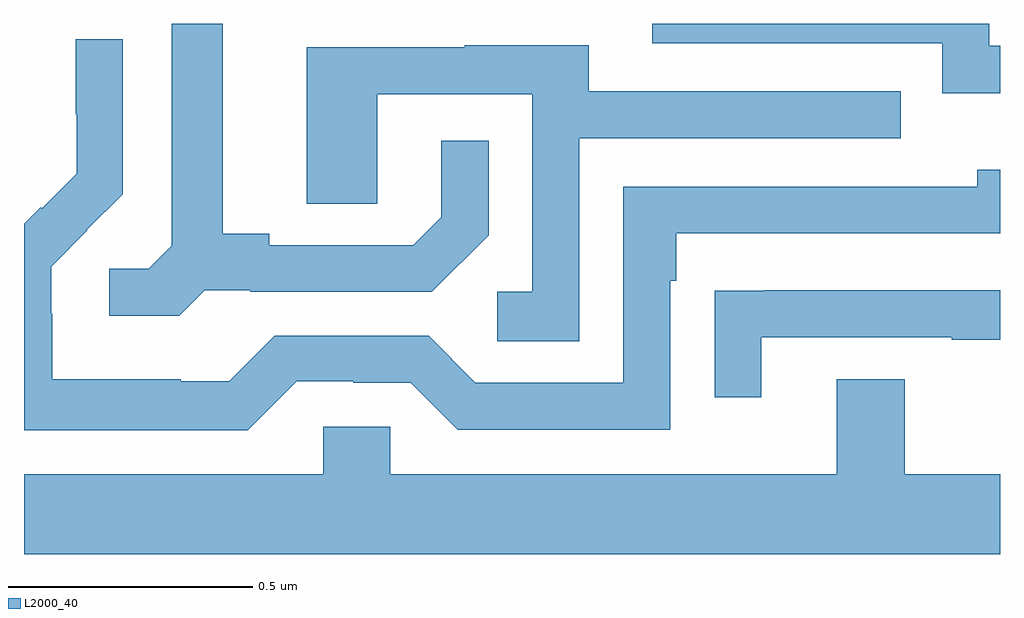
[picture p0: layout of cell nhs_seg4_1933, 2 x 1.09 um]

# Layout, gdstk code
import gdstk
lib = gdstk.Library(unit=1e-6, precision=1e-09)
def P(c, l, *ps):  # polygons
    for p in ps: c.add(gdstk.Polygon(p, *l))
L2000_40 = (2000, 40)

nhs_seg4_1933 = lib.new_cell('nhs_seg4_1933')
P(nhs_seg4_1933, L2000_40, [(136,805.854),(135.978,805.854),(135.978,805.9),(135.287,805.9),(135.287,805.86),(135.882,805.86),(135.882,805.757),(136,805.757)],
  [(134.37,805.353),(134.464,805.353),(134.464,805.35),(134.836,805.35),(134.952,805.466),(134.952,805.66),(134.855,805.66),(134.855,805.503),(134.798,805.446),(134.503,805.446),(134.503,805.469),(134.407,805.469),(134.407,805.9),(134.303,805.9),(134.303,805.445),(134.256,805.398),(134.175,805.398),(134.175,805.301),(134.318,805.301)],
  [(134.559,805.167),(134.675,805.167),(134.675,805.164),(134.793,805.164),(134.889,805.068),(135.324,805.068),(135.324,805.373),(135.337,805.373),(135.337,805.47),(136,805.47),(136,805.6),(135.953,805.6),(135.953,805.566),(135.228,805.566),(135.228,805.164),(134.925,805.164),(134.829,805.26),(134.514,805.26),(134.421,805.167),(134.321,805.167),(134.321,805.171),(134.058,805.171),(134.058,805.305),(134.056,805.305),(134.056,805.402),(134.13,805.476),(134.129,805.477),(134.202,805.55),(134.202,805.868),(134.106,805.868),(134.106,805.714),(134.108,805.714),(134.108,805.592),(134.037,805.521),(134.034,805.524),(134,805.49),(134,805.067),(134.459,805.067)],
  [(135.138,805.665),(135.797,805.665),(135.797,805.761),(135.157,805.761),(135.157,805.855),(134.903,805.855),(134.903,805.851),(134.579,805.851),(134.579,805.531),(134.724,805.531),(134.724,805.755),(135.042,805.755),(135.042,805.35),(134.97,805.35),(134.97,805.249),(135.138,805.249)],
  [(135.511,805.257),(135.901,805.257),(135.901,805.252),(136,805.252),(136,805.353),(135.517,805.353),(135.517,805.352),(135.415,805.352),(135.415,805.134),(135.511,805.134)],
  [(135.665,805.171),(135.665,804.976),(134.751,804.976),(134.751,805.074),(134.613,805.074),(134.613,804.976),(134,804.976),(134,804.812),(136,804.812),(136,804.976),(135.805,804.976),(135.805,805.171)])

lib.write_gds('nhs_seg4_1933.gds')
